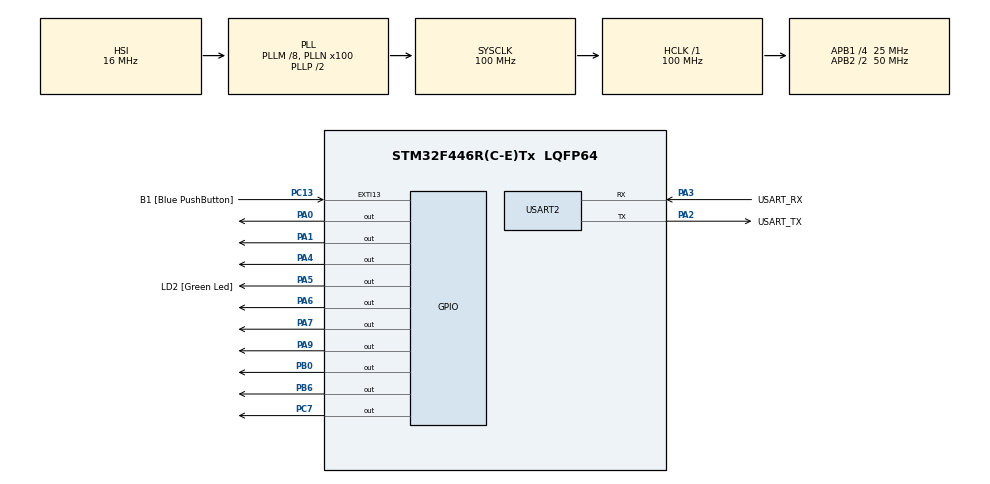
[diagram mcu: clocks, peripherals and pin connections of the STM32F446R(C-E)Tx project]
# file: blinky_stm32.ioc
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Mcu.Family=STM32F4
Mcu.Name=STM32F446R(C-E)Tx
Mcu.Package=LQFP64
NVIC.EXTI15_10_IRQn=true\:0\:0\:false\:false\:true\:true\:true\:true
NVIC.FLASH_IRQn=true\:0\:0\:false\:false\:true\:true\:true\:true
NVIC.PVD_IRQn=true\:0\:0\:false\:false\:true\:true\:true\:true
NVIC.PriorityGroup=NVIC_PRIORITYGROUP_0
NVIC.TIM2_IRQn=true\:0\:0\:false\:false\:true\:true\:true\:true
NVIC.USART2_IRQn=true\:0\:0\:false\:false\:true\:true\:true\:true
PA0-WKUP.Signal=GPIO_Output
PA1.Signal=GPIO_Output
PA13.GPIO_Label=TMS
PA13.Mode=Serial_Wire
PA13.Signal=SYS_JTMS-SWDIO
PA14.GPIO_Label=TCK
PA14.Mode=Serial_Wire
PA14.Signal=SYS_JTCK-SWCLK
PA2.GPIO_Label=USART_TX
PA2.Mode=Asynchronous
PA2.Signal=USART2_TX
PA3.GPIO_Label=USART_RX
PA3.Mode=Asynchronous
PA3.Signal=USART2_RX
PA4.Signal=GPIO_Output
PA5.GPIO_Label=LD2 [Green Led]
PA5.Signal=GPIO_Output
PA6.Signal=GPIO_Output
PA7.Signal=GPIO_Output
PA9.Signal=GPIO_Output
PB0.Signal=GPIO_Output
PB3.GPIO_Label=SWO
PB3.Signal=SYS_JTDO-SWO
PB6.Signal=GPIO_Output
PC13.GPIO_Label=B1 [Blue PushButton]
PC13.GPIO_ModeDefaultEXTI=GPIO_MODE_IT_FALLING
PC13.Signal=GPXTI13
PC14-OSC32_IN.Mode=LSE-External-Oscillator
PC14-OSC32_IN.Signal=RCC_OSC32_IN
PC15-OSC32_OUT.Mode=LSE-External-Oscillator
PC15-OSC32_OUT.Signal=RCC_OSC32_OUT
PC7.Signal=GPIO_Output
PH0-OSC_IN.Mode=HSE-External-Oscillator
PH0-OSC_IN.Signal=RCC_OSC_IN
PH1-OSC_OUT.Mode=HSE-External-Oscillator
PH1-OSC_OUT.Signal=RCC_OSC_OUT
ProjectManager.HeapSize=0x200
ProjectManager.StackSize=0x400
ProjectManager.TargetToolchain=STM32CubeIDE
RCC.48MHZClocksFreq_Value=84000000
RCC.AHBFreq_Value=100000000
RCC.APB1CLKDivider=RCC_HCLK_DIV4
RCC.APB1Freq_Value=25000000
RCC.APB1TimFreq_Value=50000000
RCC.APB2CLKDivider=RCC_HCLK_DIV2
RCC.APB2Freq_Value=50000000
RCC.APB2TimFreq_Value=100000000
RCC.CortexFreq_Value=100000000
RCC.FLatency-AdvancedSettings=FLASH_LATENCY_3
RCC.HCLKFreq_Value=100000000
RCC.HSE_VALUE=8000000
RCC.HSI_VALUE=16000000
RCC.PLLM=8
RCC.PLLN=100
RCC.SYSCLKFreq_VALUE=100000000
RCC.SYSCLKSource=RCC_SYSCLKSOURCE_PLLCLK
RCC.USBFreq_Value=100000000
RCC.VCOOutputFreq_Value=200000000
TIM2.Period=99
USART2.VirtualMode=VM_ASYNC
VP_TIM2_VS_ClockSourceINT.Mode=Internal
board=NUCLEO-F446RE

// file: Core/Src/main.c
/* USER CODE BEGIN Header */
/**
  ******************************************************************************
  * @file           : main.c
  * @brief          : Main program body
  ******************************************************************************
  * @attention
  *
  * Copyright (c) 2025 STMicroelectronics.
  * All rights reserved.
  *
  * This software is licensed under terms that can be found in the LICENSE file
  * in the root directory of this software component.
  * If no LICENSE file comes with this software, it is provided AS-IS.
  *
  ******************************************************************************
  */
/* USER CODE END Header */
#include "main.h"
#include "tim.h"
#include "usart.h"
#include "gpio.h"

void SystemClock_Config(void);

/* USER CODE BEGIN 0 */
// Use Timer 2 count register to measure elapsed time in micro-seconds
// Timer 2 runs at 50 MHZ, clk tick rate is 20 nano-seconds.
volatile uint32_t s_lastTimeNs = 0;
volatile uint64_t s_elapsedTimeNs = 0;
const uint32_t s_maxTimeNs = 4294967295;

uint64_t getMicros()
{
	// TIM2 is running at 50 MHz, each tick is 20 nanos.
	uint32_t currentTimeNs = (__HAL_TIM_GetCounter(&htim2) * 20);
	uint32_t elapsedTimeNs;
	uint64_t elapsedTimeUs;

	// Detect timer overflow, max time value is 4294967295 (32 bit timer)
	// and adjust the elapsed time for the overflow.
	// The time overflows in 85 seconds.
	if ( currentTimeNs > s_lastTimeNs )
	{
		elapsedTimeNs = currentTimeNs - s_lastTimeNs;
	}
	else
	{
		elapsedTimeNs = (s_maxTimeNs - s_lastTimeNs) + currentTimeNs + 1;
	}

	s_lastTimeNs = currentTimeNs;
	s_elapsedTimeNs += elapsedTimeNs;
	elapsedTimeUs = s_elapsedTimeNs / 1000;
	return elapsedTimeUs;
}

// Use interrupts from Timer 2 to measure elapsed time in micro-seconds
// Timer 2 runs at 50 MHZ, period is 20 micro-seconds.
//uint32_t getMicros()
//{
//	// Resolution is 2 micro-secs using TIM2 at 50 MHz, counter period set 99, 2us
//	return s_elapsedTimeUs;
//}
//
//void HAL_TIM_PeriodElapsedCallback(TIM_HandleTypeDef *htim)
//{
//	/* Prevent unused argument(s) compilation warning */
//	UNUSED(htim);
//
//	if ( htim == &htim2 )
//	{
//		//Timer 2 period is 2 micro-secs, 100 counts with auto-reload
//		s_elapsedTimeUs += 2;
//#if 0
//		// Use this technique for Stepper acceleration control.
//		if ( s_timerCount >= 10000 )
//		{
//			s_timerCount = 0;
//			g_timerInterruptFlag = 1;
//
//			if ( ++s_timerChangeCount > 7 )
//			{
//				// The Frequency of the timer is 50 MHz.
//				// Change the period of the timer pulses
//				s_timerPeriod = (s_timerPeriod == 5000) ? 2500 : 5000;
//				__HAL_TIM_SET_AUTORELOAD(&htim4, s_timerPeriod);
//				s_timerChangeCount = 0;
//			}
//		}
//#endif
//	}
//}
/* USER CODE END 0 */

int main(void)
{

  /* MCU Configuration--------------------------------------------------------*/

  /* Reset of all peripherals, Initializes the Flash interface and the Systick. */
  HAL_Init();

  /* Configure the system clock */
  SystemClock_Config();

  /* Initialize all configured peripherals */
  MX_GPIO_Init();
  MX_USART2_UART_Init();
  MX_TIM2_Init();
  /* USER CODE BEGIN 2 */
  //HAL_TIM_Base_Start_IT(&htim2);
  HAL_TIM_Base_Start(&htim2);
  /* USER CODE END 2 */

  /* Infinite loop */
  while (1)
  {
	  altMain();
  }
}

void SystemClock_Config(void)
{
  RCC_OscInitTypeDef RCC_OscInitStruct = {0};
  RCC_ClkInitTypeDef RCC_ClkInitStruct = {0};

  /** Configure the main internal regulator output voltage
  */
  __HAL_RCC_PWR_CLK_ENABLE();
  __HAL_PWR_VOLTAGESCALING_CONFIG(PWR_REGULATOR_VOLTAGE_SCALE3);

  /** Initializes the RCC Oscillators according to the specified parameters
  * in the RCC_OscInitTypeDef structure.
  */
  RCC_OscInitStruct.OscillatorType = RCC_OSCILLATORTYPE_HSI;
  RCC_OscInitStruct.HSIState = RCC_HSI_ON;
  RCC_OscInitStruct.HSICalibrationValue = RCC_HSICALIBRATION_DEFAULT;
  RCC_OscInitStruct.PLL.PLLState = RCC_PLL_ON;
  RCC_OscInitStruct.PLL.PLLSource = RCC_PLLSOURCE_HSI;
  RCC_OscInitStruct.PLL.PLLM = 8;
  RCC_OscInitStruct.PLL.PLLN = 100;
  RCC_OscInitStruct.PLL.PLLP = RCC_PLLP_DIV2;
  RCC_OscInitStruct.PLL.PLLQ = 2;
  RCC_OscInitStruct.PLL.PLLR = 2;
  if (HAL_RCC_OscConfig(&RCC_OscInitStruct) != HAL_OK)
  {
    Error_Handler();
  }

  /** Initializes the CPU, AHB and APB buses clocks
  */
  RCC_ClkInitStruct.ClockType = RCC_CLOCKTYPE_HCLK|RCC_CLOCKTYPE_SYSCLK
                              |RCC_CLOCKTYPE_PCLK1|RCC_CLOCKTYPE_PCLK2;
  RCC_ClkInitStruct.SYSCLKSource = RCC_SYSCLKSOURCE_PLLCLK;
  RCC_ClkInitStruct.AHBCLKDivider = RCC_SYSCLK_DIV1;
  RCC_ClkInitStruct.APB1CLKDivider = RCC_HCLK_DIV4;
  RCC_ClkInitStruct.APB2CLKDivider = RCC_HCLK_DIV2;

  if (HAL_RCC_ClockConfig(&RCC_ClkInitStruct, FLASH_LATENCY_3) != HAL_OK)
  {
    Error_Handler();
  }
}

void Error_Handler(void)
{
  __disable_irq();
  while (1)
  {
  }
}
